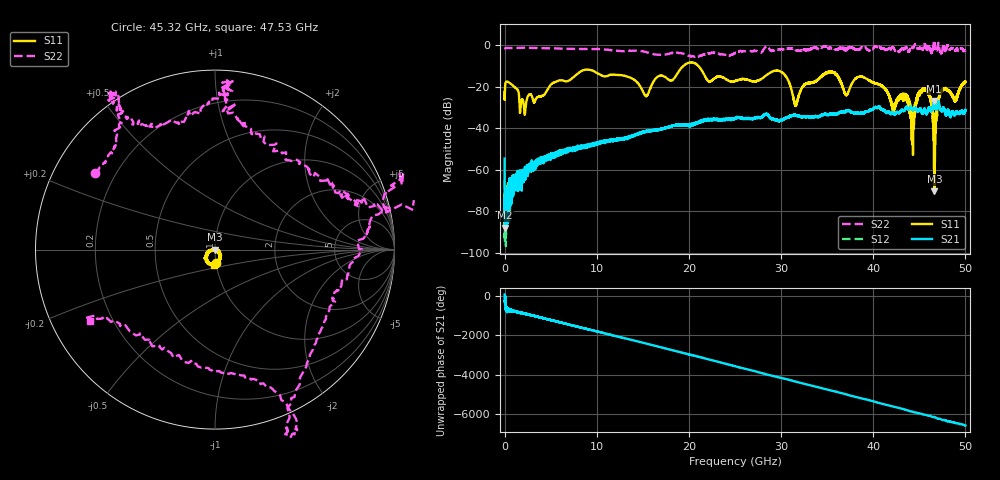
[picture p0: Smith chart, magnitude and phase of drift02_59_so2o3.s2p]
!Created with skrf (http://scikit-rf.org).
# Hz S RI R 50.0
!freq ReS11 ImS11 ReS21 ImS21 ReS12 ImS12 ReS22 ImS22
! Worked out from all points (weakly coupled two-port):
!   10001 points, 300 kHz to 50 GHz, reference 50 ohm
!   highest |S21| = -26.87 dB at 46.61 GHz (marker M1); lowest = -87.9 dB at 65.3 MHz (marker M2)
!   lowest |S11| = -70.3 dB at 46.65 GHz (marker M3), VSWR 1.00, Z = 50 - j0.0287 ohm
!   |S11| at or under -10 dB: start of sweep to 19.42 GHz; 21 GHz to end of sweep
!   |S22| runs from -5.7 to 2.2 dB; largest |S21 - S12| = 0.0031
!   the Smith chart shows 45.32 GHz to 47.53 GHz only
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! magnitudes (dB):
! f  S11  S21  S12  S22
! 300 kHz  -22.6  -54.6  -64.8  -2.1
! 65.3 MHz  -19.4  -87.9  -76.1  -1.6
! 255.3 MHz  -17.6  -75.4  -73.4  -1.4
! 2.19 GHz  -33.5  -60.3  -62.3  -1.3
! 8.335 GHz  -12.5  -48.8  -49.5  -1.9
! 15.34 GHz  -24.6  -41.6  -41.6  -3.3
! 16.67 GHz  -15.1  -40.7  -40.8  -4.7
! 20.3 GHz  -8.4  -37.9  -38.2  -5.5
! 25 GHz  -17.3  -35.3  -35.3  -3.9
! 29.83 GHz  -12.5  -36.1  -36.6  -2.0
! 31.59 GHz  -29.0  -33.8  -33.9  -2.4
! 33.34 GHz  -18.0  -34.7  -34.4  -1.6
! 37.1 GHz  -24.1  -31.6  -31.7  -2.2
! 38.75 GHz  -15.2  -32.6  -32.7  -1.0
! 41.67 GHz  -23.9  -32.1  -32.2  -2.0
! 43.55 GHz  -25.6  -30.1  -30.1  -1.0
! 44.27 GHz  -36.6  -31.2  -30.9  -1.5
! 45.7 GHz  -21.6  -32.5  -32.5  -0.9
! 46.61 GHz  -47.1  -26.9  -26.9  2.2
! 46.65 GHz  -70.3  -27.9  -27.8  1.1
! 47.47 GHz  -21.8  -31.7  -31.7  -3.5
! 50 GHz  -17.6  -31.2  -31.7  -2.7
